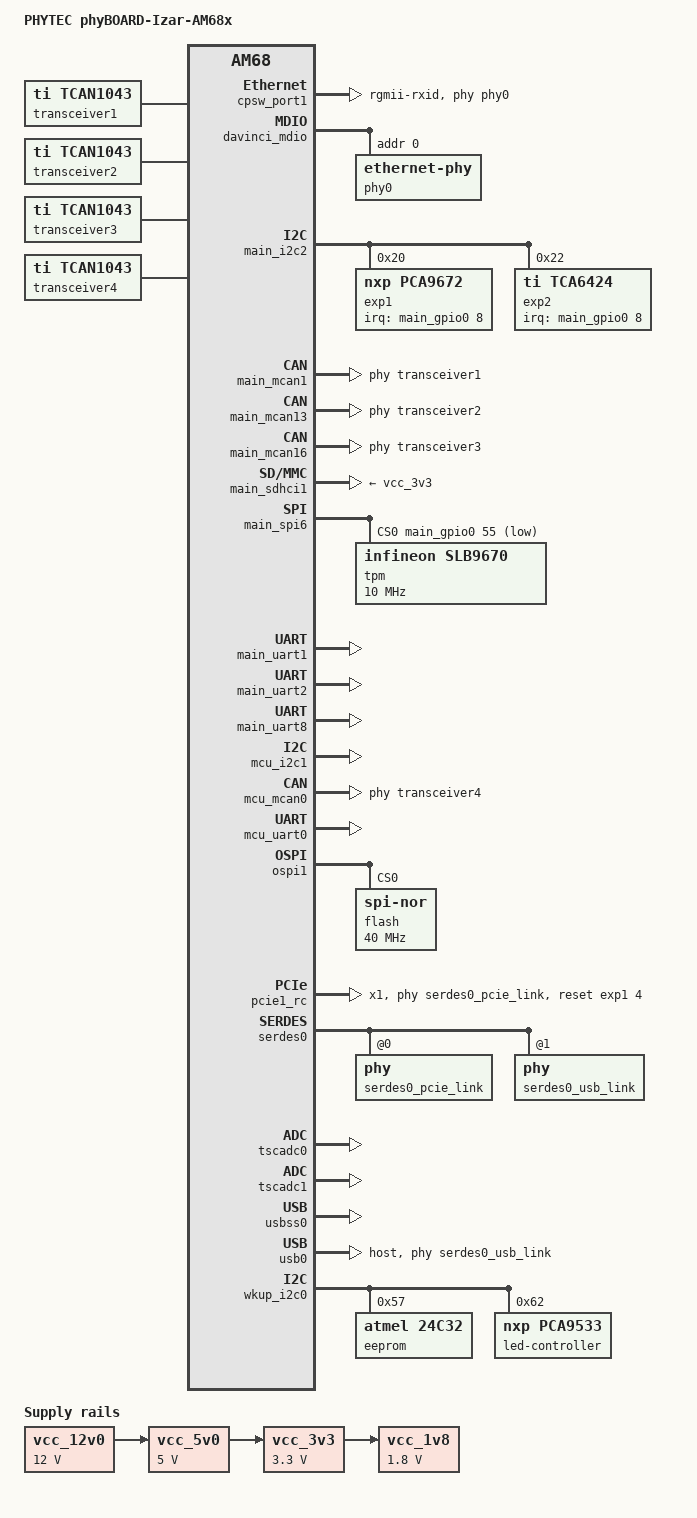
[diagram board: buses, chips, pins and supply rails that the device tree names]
// SPDX-License-Identifier: GPL-2.0-only OR MIT
/*
 * Copyright (C) 2025 PHYTEC Messtechnik GmbH
 * Author: Dominik Haller <d.haller@phytec.de>
 *
 * https://www.phytec.eu/en/produkte/development-kits/phyboard-izar/
 */

/dts-v1/;

#include <dt-bindings/leds/leds-pca9532.h>
#include <dt-bindings/net/ti-dp83867.h>
#include <dt-bindings/phy/phy-cadence.h>
#include <dt-bindings/phy/phy.h>
#include "k3-am68-phycore-som.dtsi"

#include "k3-serdes.h"

/ {
	compatible = "phytec,am68-phyboard-izar",
		     "phytec,am68-phycore-som", "ti,j721s2";
	model = "PHYTEC phyBOARD-Izar-AM68x";

	aliases {
		serial0 = &mcu_uart0;
		serial1 = &main_uart1;
		serial2 = &main_uart8;
		serial3 = &main_uart2;
		mmc1 = &main_sdhci1;
		ethernet0 = &cpsw_port1;
	};

	chosen {
		stdout-path = &main_uart8;
	};

	transceiver1: can-phy1 {
		compatible = "ti,tcan1043";
		#phy-cells = <0>;
		max-bitrate = <8000000>;
	};

	transceiver2: can-phy2 {
		compatible = "ti,tcan1043";
		#phy-cells = <0>;
		max-bitrate = <8000000>;
	};

	transceiver3: can-phy3 {
		compatible = "ti,tcan1043";
		#phy-cells = <0>;
		max-bitrate = <8000000>;
	};

	transceiver4: can-phy4 {
		compatible = "ti,tcan1043";
		#phy-cells = <0>;
		max-bitrate = <8000000>;
	};

	vcc_12v0: regulator-12v0 {
		/* main supply */
		compatible = "regulator-fixed";
		regulator-name = "VCC_IN";
		regulator-min-microvolt = <12000000>;
		regulator-max-microvolt = <12000000>;
		regulator-always-on;
		regulator-boot-on;
	};

	vcc_1v8: regulator-vcc-1v8 {
		/* Output of TLV7158P */
		compatible = "regulator-fixed";
		regulator-name = "VCC_1V8";
		regulator-min-microvolt = <1800000>;
		regulator-max-microvolt = <1800000>;
		regulator-always-on;
		regulator-boot-on;
		vin-supply = <&vcc_3v3>;
	};

	vcc_3v3: regulator-vcc-3v3 {
		/* Output of SiC431 */
		compatible = "regulator-fixed";
		regulator-name = "VCC_3V3";
		regulator-min-microvolt = <3300000>;
		regulator-max-microvolt = <3300000>;
		regulator-always-on;
		regulator-boot-on;
		vin-supply = <&vcc_5v0>;
	};

	vcc_5v0: regulator-vcc-5v0 {
		/* Output of LM5116 */
		compatible = "regulator-fixed";
		regulator-name = "VCC_5V0";
		regulator-min-microvolt = <5000000>;
		regulator-max-microvolt = <5000000>;
		regulator-always-on;
		regulator-boot-on;
		vin-supply = <&vcc_12v0>;
	};
};

&main_pmx0 {
	main_i2c2_pins_default: main-i2c2-default-pins {
		pinctrl-single,pins = <
			J721S2_IOPAD(0x04c, PIN_INPUT_PULLUP, 13) /* (V27) MCASP1_AXR1.I2C2_SCL */
			J721S2_IOPAD(0x050, PIN_INPUT_PULLUP, 13) /* (W27) MCASP1_AXR2.I2C2_SDA */
		>;
	};

	main_i2c4_pins_default: main-i2c4-default-pins {
		pinctrl-single,pins = <
			J721S2_IOPAD(0x014, PIN_INPUT_PULLUP, 8) /* (AD25) MCAN14_TX.I2C4_SCL */
			J721S2_IOPAD(0x010, PIN_INPUT_PULLUP, 8) /* (AF28) MCAN13_RX.I2C4_SDA */
		>;
	};

	main_i2c5_pins_default: main-i2c5-default-pins {
		pinctrl-single,pins = <
			J721S2_IOPAD(0x01c, PIN_INPUT_PULLUP, 8) /* (Y24) MCAN15_TX.I2C5_SCL */
			J721S2_IOPAD(0x018, PIN_INPUT_PULLUP, 8) /* (W23) MCAN14_RX.I2C5_SDA */
		>;
	};

	main_gpio0_ioexp_intr_pins_default: main-gpio0-ioexp-intr-default-pins {
		pinctrl-single,pins = <
			J721S2_IOPAD(0x020, PIN_INPUT, 7) /* (AA23) MCAN15_RX.GPIO0_8 */
		>;
	};

	main_mcan1_pins_default: main-mcan1-default-pins {
		pinctrl-single,pins = <
			J721S2_IOPAD(0x0c8, PIN_INPUT, 4) /* (AD28) EXT_REFCLK1.MCAN1_RX */
			J721S2_IOPAD(0x06c, PIN_OUTPUT, 0) /* (V26) MCAN1_TX */
		>;
	};

	main_mcan13_pins_default: main-mcan13-default-pins {
		pinctrl-single,pins = <
			J721S2_IOPAD(0x0ec, PIN_INPUT, 9) /* (AG25) TIMER_IO1.MCAN13_RX */
			J721S2_IOPAD(0x00c, PIN_OUTPUT, 0) /* (AE28) MCAN13_TX */
		>;
	};

	main_mcan16_pins_default: main-mcan16-default-pins {
		pinctrl-single,pins = <
			J721S2_IOPAD(0x028, PIN_INPUT, 0) /* (AB24) MCAN16_RX */
			J721S2_IOPAD(0x024, PIN_OUTPUT, 0) /* (Y28) MCAN16_TX */
		>;
	};

	main_mmc1_pins_default: main-mmc1-default-pins {
		pinctrl-single,pins = <
			J721S2_IOPAD(0x104, PIN_INPUT, 0) /* (P23) MMC1_CLK */
			J721S2_IOPAD(0x108, PIN_INPUT, 0) /* (N24) MMC1_CMD */
			J721S2_IOPAD(0x100, PIN_INPUT, 0) /* (###) MMC1_CLKLB */
			J721S2_IOPAD(0x0fc, PIN_INPUT, 0) /* (M23) MMC1_DAT0 */
			J721S2_IOPAD(0x0f8, PIN_INPUT, 0) /* (P24) MMC1_DAT1 */
			J721S2_IOPAD(0x0f4, PIN_INPUT, 0) /* (R24) MMC1_DAT2 */
			J721S2_IOPAD(0x0f0, PIN_INPUT, 0) /* (R22) MMC1_DAT3 */
			J721S2_IOPAD(0x0e8, PIN_INPUT, 8) /* (AE25) TIMER_IO0.MMC1_SDCD */
		>;
		bootph-all;
	};

	main_spi6_pins_default: main-spi6-default-pins {
		pinctrl-single,pins = <
			J721S2_IOPAD(0x030, PIN_INPUT, 8) /* (T26) GPIO0_12.SPI6_CLK */
			J721S2_IOPAD(0x080, PIN_INPUT, 8) /* (U26) MCASP0_AXR4.SPI6_CS2 */
			J721S2_IOPAD(0x0c4, PIN_OUTPUT, 8) /* (AB26) ECAP0_IN_APWM_OUT.SPI6_D0 */
			J721S2_IOPAD(0x074, PIN_INPUT, 8) /* (R28) MCAN2_TX.SPI6_D1 */
			J721S2_IOPAD(0x0dc, PIN_OUTPUT, 7) /* (AH26) SPI0_D1.GPIO0_55 */
		>;
	};

	main_uart1_pins_default: main-uart1-default-pins {
			pinctrl-single,pins = <
			J721S2_IOPAD(0x05c, PIN_INPUT, 11) /* (AA26) MCASP2_AXR0.UART1_CTSn */
			J721S2_IOPAD(0x060, PIN_OUTPUT, 11) /* (AC27) MCASP2_AXR1.UART1_RTSn */
			J721S2_IOPAD(0x054, PIN_INPUT, 11) /* (Y27) MCASP2_ACLKX.UART1_RXD */
			J721S2_IOPAD(0x058, PIN_OUTPUT, 11) /* (AA27) MCASP2_AFSX.UART1_TXD */
		>;
	};

	main_uart2_pins_default: main-uart2-default-pins {
		pinctrl-single,pins = <
			J721S2_IOPAD(0x0d8, PIN_INPUT, 11) /* (AG26) SPI0_D0.UART2_RXD */
			J721S2_IOPAD(0x068, PIN_OUTPUT, 11) /* (U28) MCAN0_RX.UART2_TXD */
		>;
	};

	main_uart8_pins_default: main-uart8-default-pins {
		pinctrl-single,pins = <
			J721S2_IOPAD(0x0d0, PIN_INPUT, 11) /* (AF26) SPI0_CS1.UART8_RXD */
			J721S2_IOPAD(0x0d4, PIN_OUTPUT, 11) /* (AH27) SPI0_CLK.UART8_TXD */
		>;
		bootph-all;
	};
};

&wkup_pmx1 {
	mcu_fss0_ospi1_pins_default: mcu-fss0-ospi1-default-pins {
		pinctrl-single,pins = <
			J721S2_WKUP_IOPAD(0x008, PIN_OUTPUT, 0) /* (A19) MCU_OSPI1_CLK */
			J721S2_WKUP_IOPAD(0x024, PIN_OUTPUT, 0) /* (D20) MCU_OSPI1_CSn0 */
			J721S2_WKUP_IOPAD(0x014, PIN_INPUT, 0) /* (D21) MCU_OSPI1_D0 */
			J721S2_WKUP_IOPAD(0x018, PIN_INPUT, 0) /* (G20) MCU_OSPI1_D1 */
			J721S2_WKUP_IOPAD(0x01c, PIN_INPUT, 0) /* (C20) MCU_OSPI1_D2 */
			J721S2_WKUP_IOPAD(0x020, PIN_INPUT, 0) /* (A20) MCU_OSPI1_D3 */
		>;
	};
};

&wkup_pmx2 {
	mcu_cpsw_pins_default: mcu-cpsw-default-pins {
		pinctrl-single,pins = <
			J721S2_WKUP_IOPAD(0x02c, PIN_INPUT, 0) /* (B22) MCU_RGMII1_RD0 */
			J721S2_WKUP_IOPAD(0x028, PIN_INPUT, 0) /* (B21) MCU_RGMII1_RD1 */
			J721S2_WKUP_IOPAD(0x024, PIN_INPUT, 0) /* (C22) MCU_RGMII1_RD2 */
			J721S2_WKUP_IOPAD(0x020, PIN_INPUT, 0) /* (D23) MCU_RGMII1_RD3 */
			J721S2_WKUP_IOPAD(0x01c, PIN_INPUT, 0) /* (D22) MCU_RGMII1_RXC */
			J721S2_WKUP_IOPAD(0x004, PIN_INPUT, 0) /* (E23) MCU_RGMII1_RX_CTL */
			J721S2_WKUP_IOPAD(0x014, PIN_OUTPUT, 0) /* (F23) MCU_RGMII1_TD0 */
			J721S2_WKUP_IOPAD(0x010, PIN_OUTPUT, 0) /* (G22) MCU_RGMII1_TD1 */
			J721S2_WKUP_IOPAD(0x00c, PIN_OUTPUT, 0) /* (E21) MCU_RGMII1_TD2 */
			J721S2_WKUP_IOPAD(0x008, PIN_OUTPUT, 0) /* (E22) MCU_RGMII1_TD3 */
			J721S2_WKUP_IOPAD(0x018, PIN_OUTPUT, 0) /* (F21) MCU_RGMII1_TXC */
			J721S2_WKUP_IOPAD(0x000, PIN_OUTPUT, 0) /* (F22) MCU_RGMII1_TX_CTL */
		>;
	};

	mcu_i2c1_pins_default: mcu-i2c1-default-pins {
		pinctrl-single,pins = <
			J721S2_WKUP_IOPAD(0x078, PIN_INPUT_PULLUP, 0) /* (F24) WKUP_GPIO0_8.MCU_I2C1_SCL */
			J721S2_WKUP_IOPAD(0x07c, PIN_INPUT_PULLUP, 0) /* (H26) WKUP_GPIO0_9.MCU_I2C1_SDA */
		>;
	};

	mcu_mcan0_pins_default: mcu-mcan0-default-pins {
		pinctrl-single,pins = <
			J721S2_WKUP_IOPAD(0x054, PIN_INPUT, 0) /* (E28) MCU_MCAN0_RX */
			J721S2_WKUP_IOPAD(0x050, PIN_OUTPUT, 0) /* (E27) MCU_MCAN0_TX */
		>;
	};

	mcu_mdio_pins_default: mcu-mdio-default-pins {
		pinctrl-single,pins = <
			J721S2_WKUP_IOPAD(0x034, PIN_OUTPUT, 0) /* (A21) MCU_MDIO0_MDC */
			J721S2_WKUP_IOPAD(0x030, PIN_INPUT, 0) /* (A22) MCU_MDIO0_MDIO */
		>;
	};

	mcu_spi0_pins_default: mcu-spi0-default-pins {
		pinctrl-single,pins = <
			J721S2_WKUP_IOPAD(0x038, PIN_INPUT, 0) /* (B27) MCU_SPI0_CLK */
			J721S2_WKUP_IOPAD(0x044, PIN_INPUT, 0) /* (B26) MCU_SPI0_CS0 */
			J721S2_WKUP_IOPAD(0x068, PIN_INPUT, 2) /* (C23) WKUP_GPIO0_4.MCU_SPI0_CS3 */
			J721S2_WKUP_IOPAD(0x03c, PIN_INPUT, 0) /* (D24) MCU_SPI0_D0 */
			J721S2_WKUP_IOPAD(0x040, PIN_INPUT, 0) /* (B25) MCU_SPI0_D1 */
		>;
	};

	mcu_uart0_pins_default: mcu-uart0-default-pins {
		pinctrl-single,pins = <
			J721S2_WKUP_IOPAD(0x090, PIN_INPUT, 0) /* (B24) WKUP_GPIO0_14.MCU_UART0_CTSn */
			J721S2_WKUP_IOPAD(0x094, PIN_OUTPUT, 0) /* (D25) WKUP_GPIO0_15.MCU_UART0_RTSn */
			J721S2_WKUP_IOPAD(0x08c, PIN_INPUT, 0) /* (C24) WKUP_GPIO0_13.MCU_UART0_RXD */
			J721S2_WKUP_IOPAD(0x088, PIN_OUTPUT, 0) /* (C25) WKUP_GPIO0_12.MCU_UART0_TXD */
		>;
	};

	wkup_uart0_pins_default: wkup-uart0-default-pins {
		pinctrl-single,pins = <
			J721S2_WKUP_IOPAD(0x048, PIN_INPUT, 0) /* (D28) WKUP_UART0_RXD */
			J721S2_WKUP_IOPAD(0x04c, PIN_OUTPUT, 0) /* (D27) WKUP_UART0_TXD */
		>;
		bootph-all;
	};
};

&cpsw_port1 {
	phy-mode = "rgmii-rxid";
	phy-handle = <&phy0>;
};

&davinci_mdio {
	pinctrl-names = "default";
	pinctrl-0 = <&mcu_mdio_pins_default>;

	phy0: ethernet-phy@0 {
		reg = <0>;
		ti,clk-output-sel = <DP83867_CLK_O_SEL_OFF>;
		ti,fifo-depth = <DP83867_PHYCR_FIFO_DEPTH_4_B_NIB>;
		ti,min-output-impedance;
		ti,rx-internal-delay = <DP83867_RGMIIDCTL_2_00_NS>;
	};
};

&i2c_som_rtc {
	trickle-resistor-ohms = <3000>;
};

&main_i2c2 {
	pinctrl-names = "default";
	pinctrl-0 = <&main_i2c2_pins_default>;
	status = "okay";

	exp1: gpio@20 {
		compatible = "nxp,pca9672";
		reg = <0x20>;
		gpio-controller;
		#gpio-cells = <2>;
		gpio-line-names = "HALF/nFULL_EN", "RS485/nRS232_EN", "MCU_ETH_nRESET", "",
				"PCIe_nRESET", "USB2.0-Hub_nRESET", "USB3.0-Hub_nRESET", "PEB_AV_BL_EN";
		interrupt-parent = <&main_gpio0>;
		interrupts = <8 IRQ_TYPE_EDGE_FALLING>;
		interrupt-controller;
		#interrupt-cells = <2>;
	};

	exp2: gpio@22 {
		compatible = "ti,tca6424";
		reg = <0x22>;
		gpio-controller;
		#gpio-cells = <2>;
		gpio-line-names = "RPI_GPIO4", "RPI_GPIO5", "RPI_GPIO6", "RPI_GPIO19",
				"RPI_GPIO20", "RPI_GPIO21", "RPI_GPIO22", "RPI_GPIO23",
				"RPI_GPIO24", "RPI_GPIO25", "RPI_GPIO26", "RPI_GPIO20",
				"LVDS_BL_nEN", "LVDS_REG_nEN", "CSI_CAM0_nRESET", "CSI_CAM1_nRESET",
				"CSI0_CTRL1", "CSI0_CTRL2", "CSI0_CTRL3", "CSI0_CTRL4",
				"CSI1_CTRL1", "CSI1_CTRL2", "CSI1_CTRL3", "CSI1_CTRL4";
		interrupt-parent = <&main_gpio0>;
		interrupts = <8 IRQ_TYPE_EDGE_FALLING>;
		interrupt-controller;
		#interrupt-cells = <2>;
		pinctrl-names = "default";
		pinctrl-0 = <&main_gpio0_ioexp_intr_pins_default>;
	};
};

/* CSI0 + RPI */
&main_i2c4 {
	pinctrl-names = "default";
	pinctrl-0 = <&main_i2c4_pins_default>;
};

/* CSI1 + PCIe */
&main_i2c5 {
	pinctrl-names = "default";
	pinctrl-0 = <&main_i2c5_pins_default>;
};

&main_mcan1 {
	pinctrl-names = "default";
	pinctrl-0 = <&main_mcan1_pins_default>;
	phys = <&transceiver1>;
	status = "okay";
};

&main_mcan13 {
	pinctrl-names = "default";
	pinctrl-0 = <&main_mcan13_pins_default>;
	phys = <&transceiver2>;
	status = "okay";
};

&main_mcan16 {
	pinctrl-names = "default";
	pinctrl-0 = <&main_mcan16_pins_default>;
	phys = <&transceiver3>;
	status = "okay";
};

/* SD-Card */
&main_sdhci1 {
	pinctrl-0 = <&main_mmc1_pins_default>;
	pinctrl-names = "default";
	disable-wp;
	vmmc-supply = <&vcc_3v3>;
	status = "okay";
};

&main_spi6 {
	pinctrl-names = "default";
	pinctrl-0 = <&main_spi6_pins_default>;
	cs-gpios = <&main_gpio0 55 GPIO_ACTIVE_LOW>;
	ti,spi-num-cs = <1>;
	ti,pindir-d0-out-d1-in;
	status = "okay";

	tpm@0 {
		compatible = "infineon,slb9670", "tcg,tpm_tis-spi";
		reg = <0>;
		spi-max-frequency = <10000000>;
	};
};

&main_uart1 {
	pinctrl-names = "default";
	pinctrl-0 = <&main_uart1_pins_default>;
	uart-has-rtscts;
	status = "okay";
};

&main_uart2 {
	pinctrl-names = "default";
	pinctrl-0 = <&main_uart2_pins_default>;
	status = "okay";
};

&main_uart8 {
	pinctrl-names = "default";
	pinctrl-0 = <&main_uart8_pins_default>;
	/* Shared with TFA on this platform */
	power-domains = <&k3_pds 357 TI_SCI_PD_SHARED>;
	bootph-all;
	status = "okay";
};

&mcu_cpsw {
	pinctrl-names = "default";
	pinctrl-0 = <&mcu_cpsw_pins_default>;
};

&mcu_i2c1 {
	pinctrl-names = "default";
	pinctrl-0 = <&mcu_i2c1_pins_default>;
	status = "okay";
};

&mcu_mcan0 {
	pinctrl-names = "default";
	pinctrl-0 = <&mcu_mcan0_pins_default>;
	phys = <&transceiver4>;
	status = "okay";
};

/* RPI-Header */
&mcu_spi0 {
	pinctrl-names = "default";
	pinctrl-0 = <&mcu_spi0_pins_default>;
};

/* RPI-Header */
&mcu_uart0 {
	pinctrl-names = "default";
	pinctrl-0 = <&mcu_uart0_pins_default>;
	uart-has-rtscts;
	status = "okay";
};

&ospi1 {
	pinctrl-names = "default";
	pinctrl-0 = <&mcu_fss0_ospi1_pins_default>;
	status = "okay";

	flash@0 {
		compatible = "jedec,spi-nor";
		reg = <0x0>;
		spi-tx-bus-width = <4>;
		spi-rx-bus-width = <4>;
		spi-max-frequency = <40000000>;
		cdns,tshsl-ns = <60>;
		cdns,tsd2d-ns = <60>;
		cdns,tchsh-ns = <60>;
		cdns,tslch-ns = <60>;
		cdns,read-delay = <2>;
	};
};

&pcie1_rc {
	num-lanes = <1>;
	phys = <&serdes0_pcie_link>;
	phy-names = "pcie-phy";
	reset-gpios = <&exp1 4 GPIO_ACTIVE_HIGH>;
	status = "okay";
};

&serdes_ln_ctrl {
	idle-states = <J721S2_SERDES0_LANE0_PCIE1_LANE0>, <J721S2_SERDES0_LANE1_USB>,
		      <J721S2_SERDES0_LANE2_EDP_LANE2>, <J721S2_SERDES0_LANE3_EDP_LANE3>;
};

&serdes_refclk {
	clock-frequency = <100000000>;
};

&serdes0 {
	status = "okay";

	serdes0_pcie_link: phy@0 {
		reg = <0>;
		cdns,num-lanes = <1>;
		#phy-cells = <0>;
		resets = <&serdes_wiz0 1>;
		cdns,phy-type = <PHY_TYPE_PCIE>;
	};

	serdes0_usb_link: phy@1 {
		reg = <1>;
		cdns,num-lanes = <1>;
		#phy-cells = <0>;
		resets = <&serdes_wiz0 2>;
		cdns,phy-type = <PHY_TYPE_USB3>;
	};
};

&tscadc0 {
	status = "okay";

	adc {
		ti,adc-channels = <0 1 2 3 4 5 6 7>;
	};
};

&tscadc1 {
	status = "okay";

	adc {
		ti,adc-channels = <3 4 5 6 7>;
	};
};

&usbss0 {
	ti,vbus-divider;
	status = "okay";
};

&usb0 {
	dr_mode = "host";
	phys = <&serdes0_usb_link>;
	phy-names = "cdns3,usb3-phy";
};

&usb_serdes_mux {
	idle-states = <1>; /* USB0 to SERDES lane 1 */
};

&wkup_i2c0 {
	eeprom@57 {
		compatible = "atmel,24c32";
		reg = <0x57>;
		pagesize = <32>;
	};

	led-controller@62 {
		compatible = "nxp,pca9533";
		reg = <0x62>;

		led-1 {
			label = "user-led1";
			type = <PCA9532_TYPE_LED>;
		};

		led-2 {
			label = "user-led2";
			type = <PCA9532_TYPE_LED>;
		};

		led-3 {
			label = "user-led3";
			type = <PCA9532_TYPE_LED>;
		};
	};
};

/* Shared with TIFS */
&wkup_uart0 {
	pinctrl-names = "default";
	pinctrl-0 = <&wkup_uart0_pins_default>;
	bootph-all;
	status = "reserved";
};
